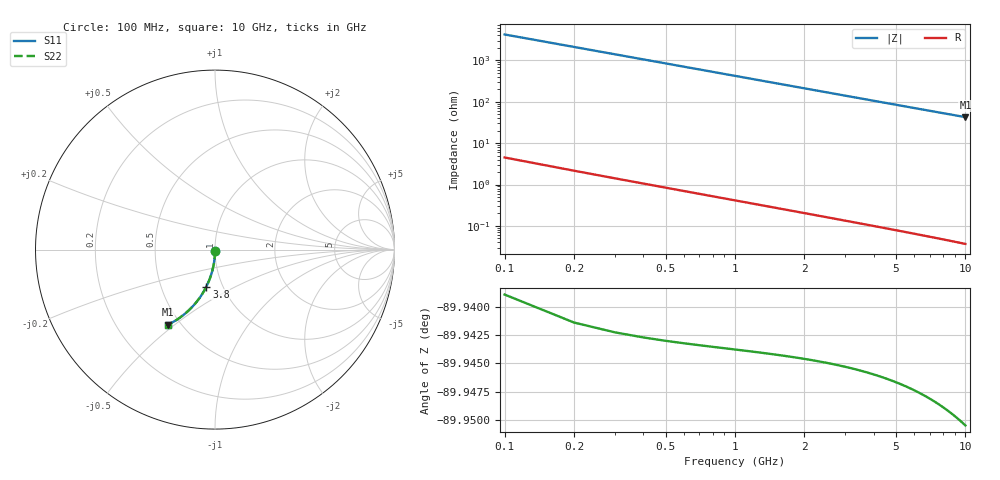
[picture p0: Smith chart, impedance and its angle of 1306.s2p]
# Hz S RI R 50.00
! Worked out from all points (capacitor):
!   100 points, 100 MHz to 10 GHz, reference 50 ohm
!   read as one part in shunt: C = 377 fF near 100 MHz
!   lowest |Z| = 42.5 ohm at 10 GHz (marker M1)
!   S11 on the Smith chart (normalised r, x): 100 MHz: 1.00, -0.01; 3.8 GHz: 0.84, -0.36; 10 GHz: 0.43, -0.47
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1e8  0.000195 -0.00571  0.9997 -0.00613  0.9997 -0.00613  0.000195 -0.00571
2e8  8.62e-05 -0.0114  0.9996 -0.0123  0.9996 -0.0123  8.62e-05 -0.0114
3e8  -9.34e-05 -0.0171  0.9994 -0.0184  0.9994 -0.0184  -9.34e-05 -0.0171
4e8  -0.000343 -0.0228  0.9992 -0.0245  0.9992 -0.0245  -0.000343 -0.0228
5e8  -0.000663 -0.0285  0.9989 -0.0306  0.9989 -0.0306  -0.000663 -0.0285
6e8  -0.00105 -0.0342  0.9985 -0.0367  0.9985 -0.0367  -0.00105 -0.0342
7e8  -0.00151 -0.0399  0.998 -0.0429  0.998 -0.0429  -0.00151 -0.0399
8e8  -0.00204 -0.0456  0.9975 -0.049  0.9975 -0.049  -0.00204 -0.0456
9e8  -0.00264 -0.0512  0.9969 -0.055  0.9969 -0.055  -0.00264 -0.0512
1.1e9  -0.00404 -0.0625  0.9955 -0.0672  0.9955 -0.0672  -0.00404 -0.0625
1.4e9  -0.00665 -0.0794  0.9928 -0.0853  0.9928 -0.0853  -0.00665 -0.0794
1.8e9  -0.0111 -0.1016  0.9884 -0.1092  0.9884 -0.1092  -0.0111 -0.1016
2.1e9  -0.0151 -0.118  0.9844 -0.1269  0.9844 -0.1269  -0.0151 -0.118
2.5e9  -0.0213 -0.1396  0.9781 -0.1502  0.9781 -0.1502  -0.0213 -0.1396
2.9e9  -0.0285 -0.1607  0.9709 -0.173  0.9709 -0.173  -0.0285 -0.1607
3.4e9  -0.0389 -0.1863  0.9605 -0.2007  0.9605 -0.2007  -0.0389 -0.1863
3.8e9  -0.0481 -0.2062  0.9512 -0.2223  0.9512 -0.2223  -0.0481 -0.2062
4.4e9  -0.0636 -0.2348  0.9357 -0.2535  0.9357 -0.2535  -0.0636 -0.2348
5.1e9  -0.0837 -0.2661  0.9156 -0.2878  0.9156 -0.2878  -0.0837 -0.2661
6.7e9  -0.1364 -0.329  0.8626 -0.3575  0.8626 -0.3575  -0.1364 -0.329
8.4e9  -0.1993 -0.3815  0.7995 -0.4173  0.7995 -0.4173  -0.1993 -0.3815
1e10  -0.2613 -0.4179  0.7372 -0.4606  0.7372 -0.4606  -0.2613 -0.4179
